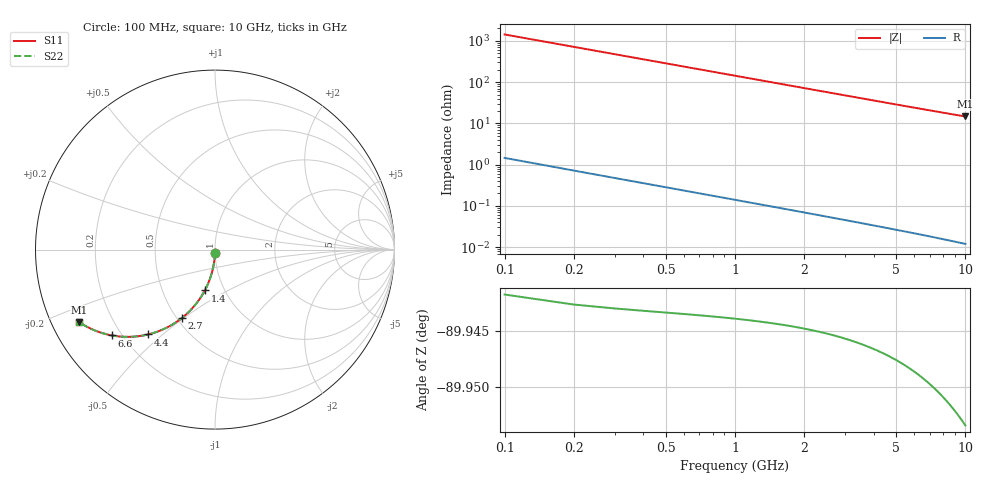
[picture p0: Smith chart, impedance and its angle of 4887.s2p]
# Hz S RI R 50.00
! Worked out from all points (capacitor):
!   100 points, 100 MHz to 10 GHz, reference 50 ohm
!   read as one part in shunt: C = 1.11 pF near 100 MHz
!   lowest |Z| = 14.7 ohm at 10 GHz (marker M1)
!   S11 on the Smith chart (normalised r, x): 100 MHz: 1.00, -0.03; 1.4 GHz: 0.81, -0.39; 2.7 GHz: 0.53, -0.49; 4.4 GHz: 0.30, -0.45; 6.6 GHz: 0.16, -0.35; 10 GHz: 0.08, -0.25
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1e8  -0.000216 -0.0172  0.9996 -0.0177  0.9996 -0.0177  -0.000216 -0.0172
2e8  -0.00114 -0.0344  0.9986 -0.0353  0.9986 -0.0353  -0.00114 -0.0344
3e8  -0.00268 -0.0515  0.9971 -0.0529  0.9971 -0.0529  -0.00268 -0.0515
4e8  -0.00481 -0.0685  0.995 -0.0704  0.995 -0.0704  -0.00481 -0.0685
5e8  -0.00753 -0.0854  0.9922 -0.0878  0.9922 -0.0878  -0.00753 -0.0854
6e8  -0.0108 -0.1022  0.9889 -0.105  0.9889 -0.105  -0.0108 -0.1022
7e8  -0.0147 -0.1187  0.9851 -0.122  0.9851 -0.122  -0.0147 -0.1187
9e8  -0.0241 -0.1512  0.9757 -0.1554  0.9757 -0.1554  -0.0241 -0.1512
1.1e9  -0.0356 -0.1826  0.9641 -0.1877  0.9641 -0.1877  -0.0356 -0.1826
1.4e9  -0.0565 -0.2273  0.9433 -0.2338  0.9433 -0.2338  -0.0565 -0.2273
1.8e9  -0.09 -0.2817  0.9097 -0.2902  0.9097 -0.2902  -0.09 -0.2817
2.2e9  -0.1288 -0.3295  0.8709 -0.3398  0.8709 -0.3398  -0.1288 -0.3295
2.7e9  -0.1822 -0.3793  0.8175 -0.392  0.8175 -0.392  -0.1822 -0.3793
3.4e9  -0.2613 -0.4309  0.7384 -0.4469  0.7384 -0.4469  -0.2613 -0.4309
4.4e9  -0.3724 -0.4726  0.6271 -0.4934  0.6271 -0.4934  -0.3724 -0.4726
5.1e9  -0.444 -0.4843  0.5554 -0.5085  0.5554 -0.5085  -0.444 -0.4843
5.8e9  -0.5086 -0.4856  0.4908 -0.5132  0.4908 -0.5132  -0.5086 -0.4856
6.6e9  -0.5733 -0.4783  0.426 -0.5098  0.426 -0.5098  -0.5733 -0.4783
6.7e9  -0.5807 -0.4769  0.4185 -0.5088  0.4185 -0.5088  -0.5807 -0.4769
7.5e9  -0.6351 -0.4628  0.364 -0.4987  0.364 -0.4987  -0.6351 -0.4628
8.4e9  -0.6866 -0.4429  0.3123 -0.4833  0.3123 -0.4833  -0.6866 -0.4429
1e10  -0.7577 -0.4033  0.2409 -0.4517  0.2409 -0.4517  -0.7577 -0.4033
